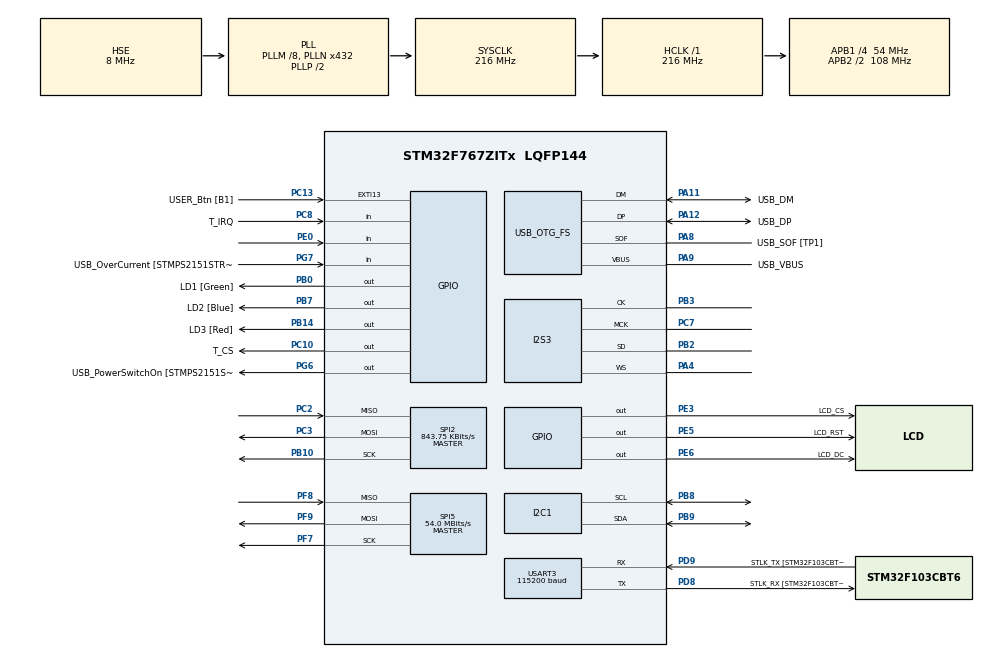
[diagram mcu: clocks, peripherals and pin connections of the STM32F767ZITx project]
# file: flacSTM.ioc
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CORTEX_M7.CPU_DCache=Enabled
CORTEX_M7.CPU_ICache=Enabled
Dma.Request0=SPI3_TX
Dma.SPI3_TX.0.Direction=DMA_MEMORY_TO_PERIPH
Dma.SPI3_TX.0.FIFOMode=DMA_FIFOMODE_DISABLE
Dma.SPI3_TX.0.Instance=DMA1_Stream5
Dma.SPI3_TX.0.MemDataAlignment=DMA_MDATAALIGN_BYTE
Dma.SPI3_TX.0.MemInc=DMA_MINC_ENABLE
Dma.SPI3_TX.0.Mode=DMA_NORMAL
Dma.SPI3_TX.0.PeriphDataAlignment=DMA_PDATAALIGN_BYTE
Dma.SPI3_TX.0.PeriphInc=DMA_PINC_DISABLE
Dma.SPI3_TX.0.Priority=DMA_PRIORITY_VERY_HIGH
FATFS._FS_EXFAT=0
FATFS._FS_LOCK=10
FATFS._FS_RPATH=1
FATFS._USE_FIND=1
FATFS._USE_LFN=3
FATFS._VOLUMES=2
I2C1.Timing=0x20404768
I2S3.AudioFreq=I2S_AUDIOFREQ_44K
I2S3.CPOL=I2S_CPOL_LOW
I2S3.DataFormat=I2S_DATAFORMAT_16B
I2S3.ErrorAudioFreq=1.31 %
I2S3.FullDuplexMode=I2S_FULLDUPLEXMODE_DISABLE
I2S3.Instance=SPI$Index
I2S3.Mode=I2S_MODE_MASTER_TX
I2S3.RealAudioFreq=44.577 KHz
I2S3.Standard=I2S_STANDARD_MSB
I2S3.VirtualMode=I2S_MODE_MASTER
Mcu.Family=STM32F7
Mcu.Name=STM32F767ZITx
Mcu.Package=LQFP144
NVIC.DMA1_Stream5_IRQn=true\:0\:0\:false\:false\:true\:false\:true
NVIC.OTG_FS_IRQn=true\:0\:0\:false\:false\:true\:false\:true
NVIC.PriorityGroup=NVIC_PRIORITYGROUP_4
PA1.GPIO_Label=RMII_REF_CLK [LAN8742A-CZ-TR_REFCLK0]
PA1.Signal=ETH_REF_CLK
PA10.GPIO_Label=USB_ID
PA10.Signal=USB_OTG_FS_ID
PA11.GPIO_Label=USB_DM
PA11.Mode=Host_Only
PA11.Signal=USB_OTG_FS_DM
PA12.GPIO_Label=USB_DP
PA12.Mode=Host_Only
PA12.Signal=USB_OTG_FS_DP
PA13.GPIO_Label=TMS
PA13.Mode=Serial_Wire
PA13.Signal=SYS_JTMS-SWDIO
PA14.GPIO_Label=TCK
PA14.Mode=Serial_Wire
PA14.Signal=SYS_JTCK-SWCLK
PA2.GPIO_Label=RMII_MDIO [LAN8742A-CZ-TR_MDIO]
PA2.Signal=ETH_MDIO
PA4.GPIO_PuPd=GPIO_PULLUP
PA4.Mode=Half_Duplex_Master
PA4.Signal=I2S3_WS
PA7.GPIO_Label=RMII_CRS_DV [LAN8742A-CZ-TR_CRS_DV]
PA7.Signal=ETH_CRS_DV
PA8.GPIO_Label=USB_SOF [TP1]
PA8.Mode=Activate_SOF_FS
PA8.Signal=USB_OTG_FS_SOF
PA9.GPIO_Label=USB_VBUS
PA9.Mode=Activate_VBUS
PA9.Signal=USB_OTG_FS_VBUS
PB0.GPIO_Label=LD1 [Green]
PB0.Signal=GPIO_Output
PB10.Mode=Full_Duplex_Master
PB10.Signal=SPI2_SCK
PB13.GPIO_Label=RMII_TXD1 [LAN8742A-CZ-TR_TXD1]
PB13.Signal=ETH_TXD1
PB14.GPIO_Label=LD3 [Red]
PB14.Signal=GPIO_Output
PB2.GPIO_PuPd=GPIO_PULLUP
PB2.Mode=Half_Duplex_Master
PB2.Signal=I2S3_SD
PB3.GPIO_PuPd=GPIO_PULLUP
PB3.Mode=Half_Duplex_Master
PB3.Signal=I2S3_CK
PB7.GPIO_Label=LD2 [Blue]
PB7.Signal=GPIO_Output
PB8.Mode=I2C
PB8.Signal=I2C1_SCL
PB9.Mode=I2C
PB9.Signal=I2C1_SDA
PC1.GPIO_Label=RMII_MDC [LAN8742A-CZ-TR_MDC]
PC1.Signal=ETH_MDC
PC10.GPIO_Label=T_CS
PC10.GPIO_PuPd=GPIO_PULLUP
PC10.GPIO_Speed=GPIO_SPEED_FREQ_VERY_HIGH
PC10.Signal=GPIO_Output
PC13.GPIO_Label=USER_Btn [B1]
PC13.Signal=GPXTI13
PC14/OSC32_IN.Mode=LSE-External-Oscillator
PC14/OSC32_IN.Signal=RCC_OSC32_IN
PC15/OSC32_OUT.Mode=LSE-External-Oscillator
PC15/OSC32_OUT.Signal=RCC_OSC32_OUT
PC2.Mode=Full_Duplex_Master
PC2.Signal=SPI2_MISO
PC3.Mode=Full_Duplex_Master
PC3.Signal=SPI2_MOSI
PC4.Signal=I2S1_MCK
PC5.GPIO_Label=RMII_RXD1 [LAN8742A-CZ-TR_RXD1]
PC5.Signal=ETH_RXD1
PC7.GPIO_PuPd=GPIO_PULLUP
PC7.Mode=Master_Clock_Activated
PC7.Signal=I2S3_MCK
PC8.GPIO_Label=T_IRQ
PC8.GPIO_PuPd=GPIO_PULLUP
PC8.Signal=GPIO_Input
PD8.GPIO_Label=STLK_RX [STM32F103CBT6_PA3]
PD8.Mode=Asynchronous
PD8.Signal=USART3_TX
PD9.GPIO_Label=STLK_TX [STM32F103CBT6_PA2]
PD9.Mode=Asynchronous
PD9.Signal=USART3_RX
PE0.Signal=GPIO_Input
PE3.GPIO_Label=LCD_CS
PE3.GPIO_Speed=GPIO_SPEED_FREQ_VERY_HIGH
PE3.Signal=GPIO_Output
PE5.GPIO_Label=LCD_RST
PE5.GPIO_Speed=GPIO_SPEED_FREQ_VERY_HIGH
PE5.Signal=GPIO_Output
PE6.GPIO_Label=LCD_DC
PE6.GPIO_Speed=GPIO_SPEED_FREQ_VERY_HIGH
PE6.Signal=GPIO_Output
PF7.Mode=Full_Duplex_Master
PF7.Signal=SPI5_SCK
PF8.Mode=Full_Duplex_Master
PF8.Signal=SPI5_MISO
PF9.Mode=Full_Duplex_Master
PF9.Signal=SPI5_MOSI
PG11.GPIO_Label=RMII_TX_EN [LAN8742A-CZ-TR_TXEN]
PG11.Signal=ETH_TX_EN
PG13.GPIO_Label=RMII_TXD0 [LAN8742A-CZ-TR_TXD0]
PG13.Signal=ETH_TXD0
PG6.GPIO_Label=USB_PowerSwitchOn [STMPS2151STR_EN]
PG6.Signal=GPIO_Output
PG7.GPIO_Label=USB_OverCurrent [STMPS2151STR_FAULT]
PG7.Signal=GPIO_Input
PH0/OSC_IN.GPIO_Label=MCO [STM32F103CBT6_PA8]
PH0/OSC_IN.Mode=HSE-External-Clock-Source
PH0/OSC_IN.Signal=RCC_OSC_IN
PH1/OSC_OUT.Mode=HSE-External-Clock-Source
PH1/OSC_OUT.Signal=RCC_OSC_OUT
ProjectManager.HeapSize=0x200
ProjectManager.StackSize=0x400
ProjectManager.TargetToolchain=SW4STM32
RCC.48MHZClocksFreq_Value=24000000
RCC.AHBFreq_Value=216000000
RCC.APB1CLKDivider=RCC_HCLK_DIV4
RCC.APB1Freq_Value=54000000
RCC.APB1TimFreq_Value=108000000
RCC.APB2CLKDivider=RCC_HCLK_DIV2
RCC.APB2Freq_Value=108000000
RCC.APB2TimFreq_Value=216000000
RCC.CortexFreq_Value=216000000
RCC.HCLKFreq_Value=216000000
RCC.HSE_VALUE=8000000
RCC.HSI_VALUE=16000000
RCC.PLLI2SN=388
RCC.PLLM=8
RCC.PLLMUL=RCC_PLL_MUL9
RCC.PLLN=432
RCC.PLLQ=9
RCC.PLLSAIN=384
RCC.PLLSAIP=RCC_PLLSAIP_DIV8
RCC.PRESCALERUSB=RCC_USBCLKSOURCE_PLL_DIV1_5
RCC.SYSCLKFreq_VALUE=216000000
RCC.SYSCLKSource=RCC_SYSCLKSOURCE_PLLCLK
RCC.SYSCLKSourceVirtual=RCC_SYSCLKSOURCE_PLLCLK
RCC.USBFreq_Value=48000000
RCC.VCOOutputFreq_Value=432000000
SPI2.BaudRatePrescaler=SPI_BAUDRATEPRESCALER_64
SPI2.CalculateBaudRate=843.75 KBits/s
SPI2.DataSize=SPI_DATASIZE_8BIT
SPI2.Direction=SPI_DIRECTION_2LINES
SPI2.Mode=SPI_MODE_MASTER
SPI2.NSSPMode=SPI_NSS_PULSE_DISABLE
SPI2.VirtualType=VM_MASTER
SPI5.BaudRatePrescaler=SPI_BAUDRATEPRESCALER_2
SPI5.CalculateBaudRate=54.0 MBits/s
SPI5.DataSize=SPI_DATASIZE_8BIT
SPI5.Direction=SPI_DIRECTION_2LINES
SPI5.Mode=SPI_MODE_MASTER
SPI5.NSSPMode=SPI_NSS_PULSE_DISABLE
SPI5.VirtualType=VM_MASTER
TIM1.AutoReloadPreload=TIM_AUTORELOAD_PRELOAD_DISABLE
TIM1.ClockDivision=TIM_CLOCKDIVISION_DIV2
TIM1.Period=65535
TIM1.Prescaler=10000
USART3.BaudRate=115200
USART3.Parity=PARITY_NONE
USART3.VirtualMode-Asynchronous=VM_ASYNC
USB_HOST.BSP.number=1
USB_HOST.USBH_DEBUG_LEVEL-MSC_FS=3
USB_HOST.USBH_HandleTypeDef-MSC_FS=hUsbHostFS
USB_HOST.VirtualModeFS=Msc
USB_HOST0.BSP.STBoard=false
USB_HOST0.BSP.api=Unknown
USB_HOST0.BSP.i2caddr=0
USB_HOST0.BSP.instance=PG6
USB_HOST0.BSP.ip=GPIO
USB_HOST0.BSP.mode=Output
USB_HOST0.BSP.name=Drive_VBUS_FS
USB_HOST0.BSP.solution=PG6
USB_OTG_FS.VirtualMode=Host_Only
USB_OTG_FS.phy_itface=HCD_PHY_EMBEDDED
VP_FATFS_VS_USB.Mode=USB
VP_RNG_VS_RNG.Mode=RNG_Activate
VP_TIM1_VS_ClockSourceINT.Mode=Internal
VP_USB_HOST_VS_USB_HOST_MSC_FS.Mode=MSC_FS
board=NUCLEO-F767ZI

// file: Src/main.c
/* USER CODE BEGIN Header */
/**
  ******************************************************************************
  * @file           : main.c
  * @brief          : Main program body
  ******************************************************************************
  * @attention
  *
  * <h2><center>&copy; Copyright (c) 2019 STMicroelectronics.
  * All rights reserved.</center></h2>
  *
  * This software component is licensed by ST under BSD 3-Clause license,
  * the "License"; You may not use this file except in compliance with the
  * License. You may obtain a copy of the License at:
  *                        opensource.org/licenses/BSD-3-Clause
  *
  ******************************************************************************
  */
/* USER CODE END Header */

#include "main.h"
#include "dma.h"
#include "fatfs.h"
#include "i2c.h"
#include "i2s.h"
#include "rng.h"
#include "spi.h"
#include "tim.h"
#include "usart.h"
#include "usb_host.h"
#include "gpio.h"

/* USER CODE BEGIN Includes */
#include <stdio.h>
#include <usbh_platform.h>
#include <app.h>
/* USER CODE END Includes */

void SystemClock_Config(void);
void MX_USB_HOST_Process(void);

/* USER CODE BEGIN 0 */

#ifdef __GNUC__
/* With GCC, small printf (option LD Linker->Libraries->Small printf
   set to 'Yes') calls __io_putchar() */
#define PUTCHAR_PROTOTYPE int __io_putchar(int ch)
#else
#define PUTCHAR_PROTOTYPE int fputc(int ch, FILE *f)
#endif /* __GNUC__ */

PUTCHAR_PROTOTYPE
//int __io_putchar(int ch)
{
    if (ch == '\n') {
        char ch = '\r';
        HAL_UART_Transmit(&huart3, (uint8_t *) &ch, 1, 0xFFFFFFFF);
    }
    HAL_UART_Transmit(&huart3, (uint8_t *) &ch, 1, 0xFFFFFFFF);
    return 0;
}

extern ApplicationTypeDef Appli_state;

FRESULT scan_files(
        char *path        /* Start node to be scanned (***also used as work area***) */
) {
    FRESULT res;
    DIR dir;
    UINT i;
    static FILINFO fno;

    res = f_opendir(&dir, path);                       /* Open the directory */
    if (res == FR_OK) {
        for (;;) {
            res = f_readdir(&dir, &fno);                   /* Read a directory item */
            if (res != FR_OK || fno.fname[0] == 0) break;  /* Break on error or end of dir */
            if (fno.fattrib & AM_DIR) {                    /* It is a directory */
                i = strlen(path);
                sprintf(&path[i], "/%s", fno.fname);
                res = scan_files(path);                    /* Enter the directory */
                if (res != FR_OK) break;
                path[i] = 0;
            } else {                                       /* It is a file. */
                printf("%s/%s\n", path, fno.fname);
            }
        }
        f_closedir(&dir);
    }

    return res;
}

/* USER CODE END 0 */

int main(void)
{

  /* Enable I-Cache---------------------------------------------------------*/
  SCB_EnableICache();

  /* Enable D-Cache---------------------------------------------------------*/
  SCB_EnableDCache();

  /* MCU Configuration--------------------------------------------------------*/

  /* Reset of all peripherals, Initializes the Flash interface and the Systick. */
  HAL_Init();

  /* Configure the system clock */
  SystemClock_Config();

  /* Initialize all configured peripherals */
  MX_GPIO_Init();
  MX_DMA_Init();
  MX_USART3_UART_Init();
  MX_SPI5_Init();
  MX_RNG_Init();
  MX_TIM1_Init();
  MX_FATFS_Init();
  MX_USB_HOST_Init();
  MX_I2C1_Init();
  MX_I2S3_Init();
  MX_SPI2_Init();
  /* USER CODE BEGIN 2 */

    printf("\r\nr%dp%d\r\n", ((SCB->CPUID >> 20) & 0x0F), (SCB->CPUID & 0x0F));
    MX_DriverVbusFS(0);
    printf("Waiting for USB");
    while (Appli_state != APPLICATION_READY) {
        if(Appli_state == APPLICATION_IDLE) printf(".");
        MX_USB_HOST_Process();
    }

    appInit();

//    FLACdecode("/wewillrockyou.flac");

  /* USER CODE END 2 */

  /* Infinite loop */
  /* USER CODE BEGIN WHILE */
//  ILI9341_Write_Command(0x21);
    while (1) {
//        uint32_t sTime = HAL_GetTick();
    /* USER CODE END WHILE */
    MX_USB_HOST_Process();

    /* USER CODE BEGIN 3 */
        appProcess();
//        uint32_t tTime = HAL_GetTick() - sTime;
//        HAL_Delay(100);
//        graphicsTest(1, 0);
//        graphicsTest(14, 1);
    }

  /* USER CODE END 3 */
}

void SystemClock_Config(void)
{
  RCC_OscInitTypeDef RCC_OscInitStruct = {0};
  RCC_ClkInitTypeDef RCC_ClkInitStruct = {0};
  RCC_PeriphCLKInitTypeDef PeriphClkInitStruct = {0};

  /** Configure LSE Drive Capability
  */
  HAL_PWR_EnableBkUpAccess();
  /** Configure the main internal regulator output voltage
  */
  __HAL_RCC_PWR_CLK_ENABLE();
  __HAL_PWR_VOLTAGESCALING_CONFIG(PWR_REGULATOR_VOLTAGE_SCALE1);
  /** Initializes the CPU, AHB and APB busses clocks
  */
  RCC_OscInitStruct.OscillatorType = RCC_OSCILLATORTYPE_HSE;
  RCC_OscInitStruct.HSEState = RCC_HSE_BYPASS;
  RCC_OscInitStruct.PLL.PLLState = RCC_PLL_ON;
  RCC_OscInitStruct.PLL.PLLSource = RCC_PLLSOURCE_HSE;
  RCC_OscInitStruct.PLL.PLLM = 8;
  RCC_OscInitStruct.PLL.PLLN = 432;
  RCC_OscInitStruct.PLL.PLLP = RCC_PLLP_DIV2;
  RCC_OscInitStruct.PLL.PLLQ = 9;
  if (HAL_RCC_OscConfig(&RCC_OscInitStruct) != HAL_OK)
  {
    Error_Handler();
  }
  /** Activate the Over-Drive mode
  */
  if (HAL_PWREx_EnableOverDrive() != HAL_OK)
  {
    Error_Handler();
  }
  /** Initializes the CPU, AHB and APB busses clocks
  */
  RCC_ClkInitStruct.ClockType = RCC_CLOCKTYPE_HCLK|RCC_CLOCKTYPE_SYSCLK
                              |RCC_CLOCKTYPE_PCLK1|RCC_CLOCKTYPE_PCLK2;
  RCC_ClkInitStruct.SYSCLKSource = RCC_SYSCLKSOURCE_PLLCLK;
  RCC_ClkInitStruct.AHBCLKDivider = RCC_SYSCLK_DIV1;
  RCC_ClkInitStruct.APB1CLKDivider = RCC_HCLK_DIV4;
  RCC_ClkInitStruct.APB2CLKDivider = RCC_HCLK_DIV2;

  if (HAL_RCC_ClockConfig(&RCC_ClkInitStruct, FLASH_LATENCY_7) != HAL_OK)
  {
    Error_Handler();
  }
  PeriphClkInitStruct.PeriphClockSelection = RCC_PERIPHCLK_USART3|RCC_PERIPHCLK_I2C1
                              |RCC_PERIPHCLK_I2S|RCC_PERIPHCLK_CLK48;
  PeriphClkInitStruct.PLLI2S.PLLI2SN = 388;
  PeriphClkInitStruct.PLLI2S.PLLI2SP = RCC_PLLP_DIV2;
  PeriphClkInitStruct.PLLI2S.PLLI2SR = 2;
  PeriphClkInitStruct.PLLI2S.PLLI2SQ = 2;
  PeriphClkInitStruct.PLLI2SDivQ = 1;
  PeriphClkInitStruct.I2sClockSelection = RCC_I2SCLKSOURCE_PLLI2S;
  PeriphClkInitStruct.Usart3ClockSelection = RCC_USART3CLKSOURCE_PCLK1;
  PeriphClkInitStruct.I2c1ClockSelection = RCC_I2C1CLKSOURCE_PCLK1;
  PeriphClkInitStruct.Clk48ClockSelection = RCC_CLK48SOURCE_PLL;
  if (HAL_RCCEx_PeriphCLKConfig(&PeriphClkInitStruct) != HAL_OK)
  {
    Error_Handler();
  }
}

void Error_Handler(void)
{
  /* USER CODE BEGIN Error_Handler_Debug */
    /* User can add his own implementation to report the HAL error return state */
    printf("Error\n\r");
    while (1) {
        HAL_GPIO_TogglePin(LD3_GPIO_Port, LD3_Pin); //MAYBE add option to exit with button press
        HAL_Delay(300);
    }

  /* USER CODE END Error_Handler_Debug */
}

/************************ (C) COPYRIGHT STMicroelectronics *****END OF FILE****/
